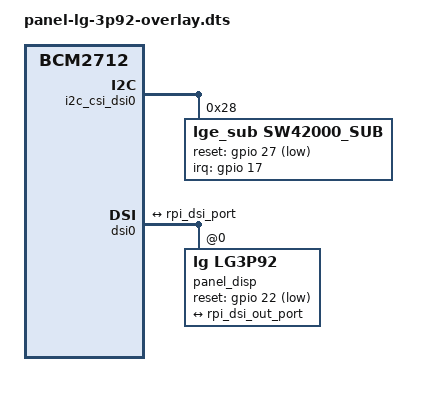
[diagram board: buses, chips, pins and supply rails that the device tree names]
/dts-v1/;
/plugin/;

#include <dt-bindings/gpio/gpio.h>
#include <dt-bindings/interrupt-controller/irq.h>

/ {
	compatible = "raspberrypi,5-model-b","brcm,bcm2712";
	
	fragment@0 {
		target = <&i2c_csi_dsi0>;
		__overlay__ {
			// status = "disabled";
            status = "okay";
            #address-cells = <1>;
	        #size-cells = <0>;

			sw42000_sub: sw42000_sub@28 {
				status = "okay";
				compatible = "lge_sub,sw42000_sub";
				reg = <0x28>;
				
				interrupt-parent = <&gpio>;
				interrupts = <17 IRQ_TYPE_LEVEL_LOW>; // TODO
				reset-gpios = <&gpio 27 GPIO_ACTIVE_LOW>;  // TODO

				/* Caps */
				max_x = <1080>;
				max_y = <1240>;
				max_pressure = <0xff>;
				max_width_major = <1080>;
				max_width_minor = <1240>;
				max_orientation = <90>;
				max_id = <10>;
				hw_reset_delay = <40>;
				sw_reset_delay = <40>;

				/* role */
				use_lpwg = <1>;
				use_lpwg_test = <1>;
				hide_coordinate = <1>;
				use_activepen_status = <0>;
				use_film_status = <1>;
				use_dex_mode = <1>;

				/* Firmware */
				fw_image = "touch/winglm/V1W39WING_v0.18.img";
				panel_spec = "touch/winglm/wing_sw42000_limit.txt";
				panel_spec_mfts_folder = "touch/winglm/wing_sw42000_limit.txt";
			};
		};
	};
	
	dsi_frag: fragment@1 {
		target = <&dsi0>;
		__overlay__{
            #address-cells = <1>;
			#size-cells = <0>;
			status = "okay";

			port {
				rpi_dsi_out_port:endpoint {
					remote-endpoint = <&rpi_dsi_port>;
				};
			};
			
			panel_disp:panel_disp@0 {
				reg = <0>;
				compatible = "lg,lg3p92";
				status = "okay";
                reset-gpios = <&gpio 22 GPIO_ACTIVE_LOW>; // TODO
				port {
					rpi_dsi_port: endpoint {
						remote-endpoint = <&rpi_dsi_out_port>;
					};
				};
			};
		};
	};

    __overrides__ {
        // TODO
		dsi1 = <&dsi_frag>, "target:0=",<&dsi1>;
        io_disp_rst = <&panel_disp>, "reset-gpios:1";
	};
};
